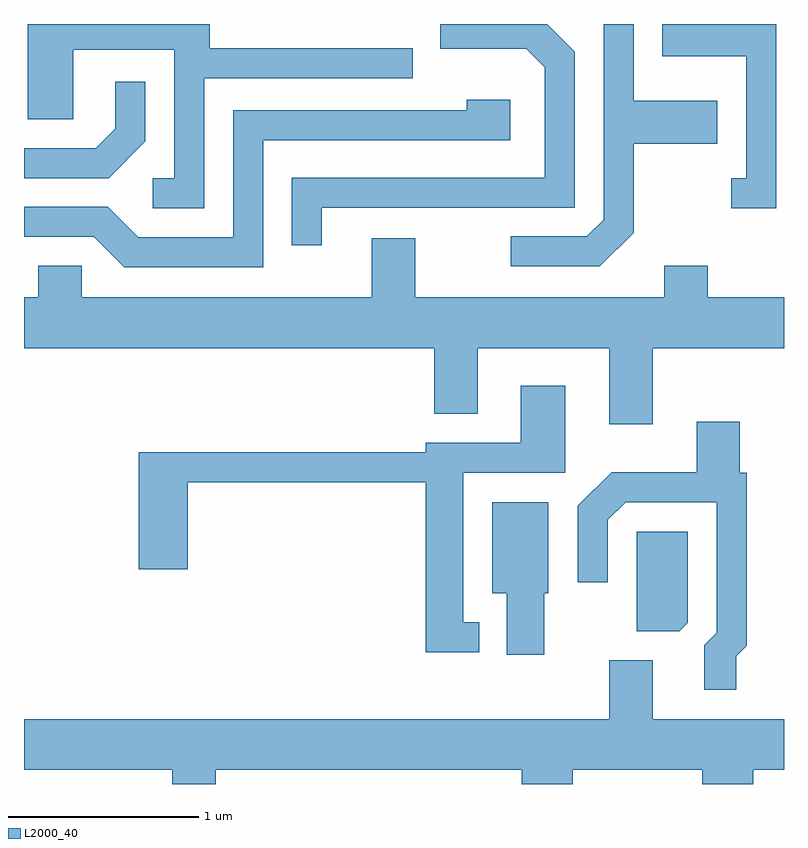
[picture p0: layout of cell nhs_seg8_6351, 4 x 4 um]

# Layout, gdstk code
import gdstk
lib = gdstk.Library(unit=1e-6, precision=1e-09)
def P(c, l, *ps):  # polygons
    for p in ps: c.add(gdstk.Polygon(p, *l))
L2000_40 = (2000, 40)

nhs_seg8_6351 = lib.new_cell('nhs_seg8_6351')
P(nhs_seg8_6351, L2000_40, [(376.559,1840.056),(377.658,1840.056),(377.658,1840.214),(376.589,1840.214),(376.589,1840.342),(375.631,1840.342),(375.631,1839.841),(375.869,1839.841),(375.869,1840.206),(376.401,1840.206),(376.401,1839.529),(376.288,1839.529),(376.288,1839.371),(376.559,1839.371)],
  [(378.819,1839.244),(378.819,1839.711),(379.259,1839.711),(379.259,1839.939),(378.819,1839.939),(378.819,1840.342),(378.661,1840.342),(378.661,1839.312),(378.574,1839.224),(378.173,1839.224),(378.173,1839.066),(378.642,1839.066)],
  [(377.179,1839.376),(378.509,1839.376),(378.509,1840.197),(378.364,1840.342),(377.801,1840.342),(377.801,1840.211),(378.254,1840.211),(378.351,1840.114),(378.351,1839.534),(377.021,1839.534),(377.021,1839.178),(377.179,1839.178)],
  [(379.569,1840.342),(378.971,1840.342),(378.971,1840.171),(379.411,1840.171),(379.411,1839.529),(379.333,1839.529),(379.333,1839.371),(379.569,1839.371)],
  [(376.249,1839.724),(376.249,1840.038),(376.091,1840.038),(376.091,1839.792),(375.989,1839.689),(375.611,1839.689),(375.611,1839.531),(376.057,1839.531)],
  [(376.869,1839.731),(378.169,1839.731),(378.169,1839.944),(377.941,1839.944),(377.941,1839.889),(376.711,1839.889),(376.711,1839.219),(376.212,1839.219),(376.052,1839.379),(375.611,1839.379),(375.611,1839.221),(375.979,1839.221),(376.139,1839.061),(376.869,1839.061)],
  [(378.919,1838.636),(379.611,1838.636),(379.611,1838.904),(379.209,1838.904),(379.209,1839.069),(378.981,1839.069),(378.981,1838.904),(377.669,1838.904),(377.669,1839.214),(377.441,1839.214),(377.441,1838.904),(375.914,1838.904),(375.914,1839.069),(375.686,1839.069),(375.686,1838.904),(375.611,1838.904),(375.611,1838.636),(377.771,1838.636),(377.771,1838.291),(377.999,1838.291),(377.999,1838.636),(378.691,1838.636),(378.691,1838.236),(378.919,1838.236)],
  [(378.008,1837.194),(377.924,1837.194),(377.924,1837.981),(378.459,1837.981),(378.459,1838.439),(378.226,1838.439),(378.226,1838.139),(377.726,1838.139),(377.726,1838.089),(376.216,1838.089),(376.216,1837.471),(376.474,1837.471),(376.474,1837.931),(377.726,1837.931),(377.726,1837.036),(378.008,1837.036)],
  [(379.359,1837.014),(379.414,1837.069),(379.414,1837.979),(379.379,1837.979),(379.379,1838.249),(379.151,1838.249),(379.151,1837.984),(378.704,1837.984),(378.526,1837.807),(378.526,1837.403),(378.684,1837.403),(378.684,1837.734),(378.777,1837.826),(379.256,1837.826),(379.256,1837.137),(379.191,1837.072),(379.191,1836.838),(379.359,1836.838)],
  [(378.349,1837.346),(378.369,1837.346),(378.369,1837.824),(378.076,1837.824),(378.076,1837.346),(378.151,1837.346),(378.151,1837.021),(378.349,1837.021)],
  [(379.104,1837.192),(379.104,1837.669),(378.836,1837.669),(378.836,1837.146),(379.059,1837.146)],
  [(376.619,1836.416),(378.231,1836.416),(378.231,1836.342),(378.499,1836.342),(378.499,1836.416),(379.181,1836.416),(379.181,1836.342),(379.449,1836.342),(379.449,1836.416),(379.611,1836.416),(379.611,1836.684),(378.919,1836.684),(378.919,1836.994),(378.691,1836.994),(378.691,1836.684),(375.611,1836.684),(375.611,1836.416),(376.391,1836.416),(376.391,1836.342),(376.619,1836.342)])

lib.write_gds('nhs_seg8_6351.gds')
